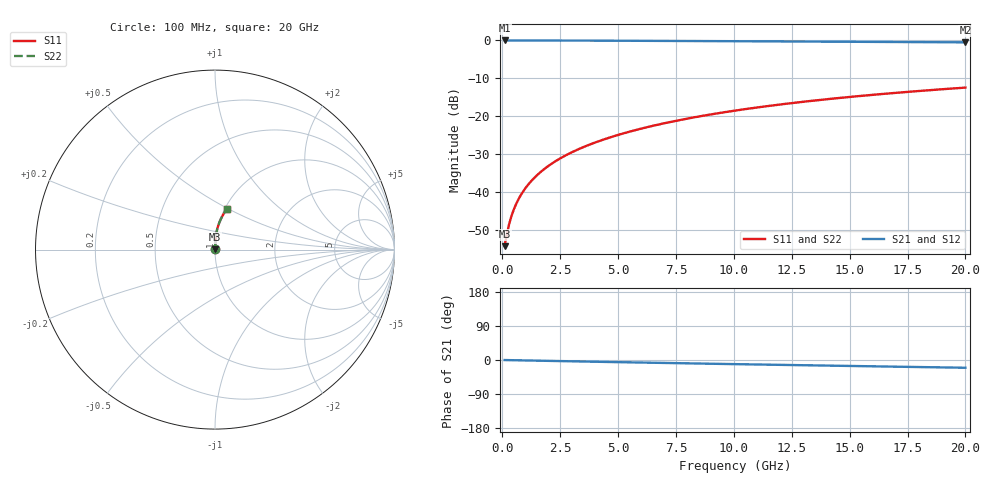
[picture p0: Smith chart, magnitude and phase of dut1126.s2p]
! Touchstone file exported from HFSS 2024.1.0
!  File:  C:/UserFiles/LocalFiles/RDL_TSV_Batchsim/temp_RDL_top_1126_1780047250.aedt
!  Generated:  05:36:36 PM May 29, 2026
!  Design:  RDL_top
!  Project:  temp_RDL_top_1126_1780047250
!  Setup:  Setup1
!  Solution:  Sweep
! Variables:
!  dtsv = 10.80580581um
!  hbump = 3um
!  htsv = 60.8um
!  ldown = 100um
!  lrdl = 238.97um
!  p = 40
!  p1 = 53.12um
!  rhole = 1um
!  t = 450um
!  tdown = 3.915915916um
!  trdl = 3.25um
!  wdown = 15.38538539um
!  wrdl = 20.02um
# GHz S MA R 50.000000
! Terminal data exported
! Port[1] = Box2_T1
! Port[2] = Box2_T2
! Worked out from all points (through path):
!   200 points, 100 MHz to 20 GHz, reference 50 ohm
!   highest |S21| = -0.01 dB at 100 MHz (marker M1); lowest = -0.5 dB at 20 GHz (marker M2)
!   group delay of S21, straight-line fit = 2.82 ps
!   lowest |S11| = -54.3 dB at 100 MHz (marker M3), VSWR 1.00, Z = 50.2 + j0.118 ohm
!   |S11| at or under -10 dB: start of sweep to end of sweep
!   |S22| runs from -54.3 to -12.5 dB; largest |S21 - S12| = 2.8e-15
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0.1  0.001923 37.6  0.9985 -0.1  0.9985 -0.1  0.001923 37.6
! Gamma 0 0 0 0
! Port Impedance 50 0 50 0
0.2  0.002804 55.9  0.9984 -0.2  0.9984 -0.2  0.002804 55.9
0.3  0.003811 64.8  0.9983 -0.4  0.9983 -0.4  0.003811 64.7
0.4  0.004848 69.8  0.9983 -0.5  0.9983 -0.5  0.004848 69.8
0.5  0.005896 73.1  0.9982 -0.6  0.9982 -0.6  0.005896 73.1
0.6  0.006949 75.4  0.9981 -0.7  0.9981 -0.7  0.006949 75.4
0.8  0.009071 78.6  0.998 -0.9  0.998 -0.9  0.009071 78.6
1.1  0.01229 81.4  0.9977 -1.3  0.9977 -1.3  0.01229 81.4
1.5  0.01663 83.6  0.9974 -1.8  0.9974 -1.8  0.01663 83.6
1.8  0.01992 84.6  0.997 -2.1  0.997 -2.1  0.01992 84.6
2.1  0.02324 85.3  0.9966 -2.4  0.9966 -2.4  0.02324 85.3
2.7  0.02994 86.2  0.9957 -3.1  0.9957 -3.1  0.02994 86.2
3.5  0.03903 86.8  0.9942 -4.0  0.9942 -4.0  0.03903 86.8
4.2  0.04712 87.0  0.9926 -4.8  0.9926 -4.8  0.04712 87.0
5  0.05653 86.9  0.9906 -5.7  0.9906 -5.7  0.05653 86.9
5.9  0.0673 86.7  0.9882 -6.7  0.9882 -6.7  0.0673 86.7
6.8  0.07822 86.2  0.9856 -7.6  0.9856 -7.6  0.07822 86.2
8.4  0.09791 85.1  0.9809 -9.3  0.9809 -9.3  0.09791 85.1
10.1  0.119 83.6  0.9756 -11.0  0.9756 -11.0  0.119 83.6
13.4  0.1598 80.3  0.9651 -14.2  0.9651 -14.2  0.1598 80.3
16.7  0.1997 76.9  0.9542 -17.4  0.9542 -17.4  0.1997 76.9
20  0.2382 73.5  0.9428 -20.5  0.9428 -20.5  0.2381 73.5
